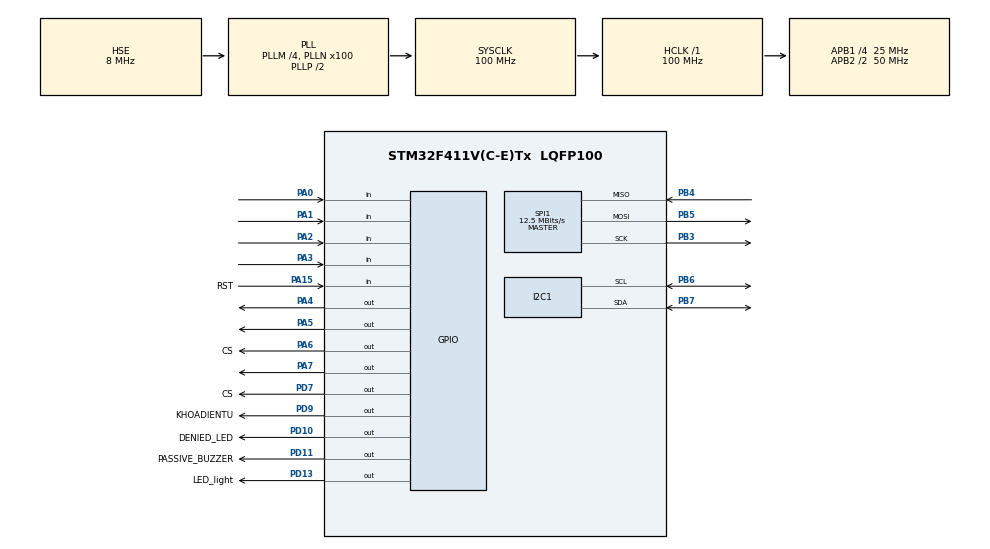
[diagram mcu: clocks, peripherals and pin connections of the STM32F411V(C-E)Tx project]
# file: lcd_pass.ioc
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Mcu.Family=STM32F4
Mcu.Name=STM32F411V(C-E)Tx
Mcu.Package=LQFP100
NVIC.I2C1_EV_IRQn=true\:0\:0\:false\:false\:true\:true\:true\:true
NVIC.PriorityGroup=NVIC_PRIORITYGROUP_4
NVIC.TIM1_UP_TIM10_IRQn=true\:0\:0\:false\:false\:true\:true\:true\:true
PA0-WKUP.GPIO_PuPd=GPIO_PULLUP
PA0-WKUP.Signal=GPIO_Input
PA1.GPIO_PuPd=GPIO_PULLUP
PA1.Signal=GPIO_Input
PA13.Mode=Serial_Wire
PA13.Signal=SYS_JTMS-SWDIO
PA14.Mode=Serial_Wire
PA14.Signal=SYS_JTCK-SWCLK
PA15.GPIO_Label=RST
PA15.GPIO_PuPd=GPIO_PULLUP
PA15.Signal=GPIO_Input
PA2.GPIO_PuPd=GPIO_PULLUP
PA2.Signal=GPIO_Input
PA3.GPIO_PuPd=GPIO_PULLUP
PA3.Signal=GPIO_Input
PA4.GPIO_Speed=GPIO_SPEED_FREQ_HIGH
PA4.Signal=GPIO_Output
PA5.GPIO_Speed=GPIO_SPEED_FREQ_HIGH
PA5.Signal=GPIO_Output
PA6.GPIO_Label=CS
PA6.GPIO_Speed=GPIO_SPEED_FREQ_HIGH
PA6.Signal=GPIO_Output
PA7.GPIO_Speed=GPIO_SPEED_FREQ_HIGH
PA7.Signal=GPIO_Output
PB3.Mode=Full_Duplex_Master
PB3.Signal=SPI1_SCK
PB4.Mode=Full_Duplex_Master
PB4.Signal=SPI1_MISO
PB5.Mode=Full_Duplex_Master
PB5.Signal=SPI1_MOSI
PB6.Mode=I2C
PB6.Signal=I2C1_SCL
PB7.Mode=I2C
PB7.Signal=I2C1_SDA
PD10.GPIO_Label=DENIED_LED
PD10.GPIO_Speed=GPIO_SPEED_FREQ_HIGH
PD10.Signal=GPIO_Output
PD11.GPIO_Label=PASSIVE_BUZZER
PD11.GPIO_Speed=GPIO_SPEED_FREQ_HIGH
PD11.Signal=GPIO_Output
PD13.GPIO_Label=LED_light
PD13.GPIO_Speed=GPIO_SPEED_FREQ_HIGH
PD13.Signal=GPIO_Output
PD7.GPIO_Label=CS
PD7.GPIO_Speed=GPIO_SPEED_FREQ_HIGH
PD7.PinState=GPIO_PIN_RESET
PD7.Signal=GPIO_Output
PD9.GPIO_Label=KHOADIENTU
PD9.GPIO_Speed=GPIO_SPEED_FREQ_HIGH
PD9.Signal=GPIO_Output
PH0\ -\ OSC_IN.Mode=HSE-External-Oscillator
PH0\ -\ OSC_IN.Signal=RCC_OSC_IN
PH1\ -\ OSC_OUT.Mode=HSE-External-Oscillator
PH1\ -\ OSC_OUT.Signal=RCC_OSC_OUT
ProjectManager.HeapSize=0x200
ProjectManager.StackSize=0x400
ProjectManager.TargetToolchain=MDK-ARM V5.27
RCC.48MHZClocksFreq_Value=66666666.666666664
RCC.AHBFreq_Value=100000000
RCC.APB1CLKDivider=RCC_HCLK_DIV4
RCC.APB1Freq_Value=25000000
RCC.APB1TimFreq_Value=50000000
RCC.APB2CLKDivider=RCC_HCLK_DIV2
RCC.APB2Freq_Value=50000000
RCC.APB2TimFreq_Value=100000000
RCC.CortexFreq_Value=100000000
RCC.HCLKFreq_Value=100000000
RCC.HSE_VALUE=8000000
RCC.HSI_VALUE=16000000
RCC.LSE_VALUE=32768
RCC.PLLM=4
RCC.PLLN=100
RCC.PLLQ=3
RCC.PLLSourceVirtual=RCC_PLLSOURCE_HSE
RCC.SYSCLKFreq_VALUE=100000000
RCC.SYSCLKSource=RCC_SYSCLKSOURCE_PLLCLK
RCC.VCOOutputFreq_Value=200000000
SPI1.BaudRatePrescaler=SPI_BAUDRATEPRESCALER_4
SPI1.CalculateBaudRate=12.5 MBits/s
SPI1.Direction=SPI_DIRECTION_2LINES
SPI1.Mode=SPI_MODE_MASTER
SPI1.VirtualType=VM_MASTER
TIM10.Period=9999
TIM10.Prescaler=10000
VP_TIM10_VS_ClockSourceINT.Mode=Enable_Timer
board=custom

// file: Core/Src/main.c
/* USER CODE BEGIN Header */
/**
  ******************************************************************************
  * @file           : main.c
  * @brief          : Main program body
  * Modifier: Ngo Le Tuyet Hoa
  * Updated: 17 DEC 2022
  ******************************************************************************
  * @attention
  *
  * Copyright (c) 2022 STMicroelectronics.
  * All rights reserved.
  *
  *
  *
  * This software is licensed under terms that can be found in the LICENSE file
  * in the root directory of this software component.
  * If no LICENSE file comes with this software, it is provided AS-IS.
  *
  ******************************************************************************
  */
/* USER CODE END Header */
#include "main.h"
/* USER CODE BEGIN Includes */
#include "string.h"
#include <stdio.h>
#include <stdint.h>
#include "lock_system.h"

/* USER CODE END Includes */

I2C_HandleTypeDef hi2c1;

SPI_HandleTypeDef hspi1;

TIM_HandleTypeDef htim10;

/* USER CODE BEGIN PV */
//INITIALIZE_VARIABLES
// flag variable
int flag_pass = 1, flag_rfid = 1, flag_change = 1;

//declare numsWords
int numofwords;

// variable RFID
unsigned char CardID[4]; //mang nhan ID tu ben ngoai
unsigned char MyID[4] = {0x63, 0x93, 0x9B,0xAC};	//My card on my keys
unsigned char ReadID_buf[4]; //mang doc ID tu FLASH

uint8_t key[16] = ""; //contains 16 character 	//temp array //mang tam chua input tu nguoi dung

uint8_t mode[4]; //mang chua che do
int wrong_count = 0; //dem so lan user nhap sai mk hoac ID
char default_pass[16] = ""; //nang chua mat khau mac dinh

//uint8_t str[MFRC522_MAX_LEN]; //mang chua UID cua the

//Flash mem store/read
uint32_t Rx_Data[30];
uint32_t Rx_DataRFID[30];

/* USER CODE END PV */

void SystemClock_Config(void);
static void MX_GPIO_Init(void);
static void MX_TIM10_Init(void);
static void MX_SPI1_Init(void);
static void MX_I2C1_Init(void);

int main(void)
{

  /* MCU Configuration--------------------------------------------------------*/

  /* Reset of all peripherals, Initializes the Flash interface and the Systick. */
  HAL_Init();

  /* Configure the system clock */
  SystemClock_Config();

  /* Initialize all configured peripherals */
  MX_GPIO_Init();
  MX_TIM10_Init();
  MX_SPI1_Init();
  MX_I2C1_Init();
  /* USER CODE BEGIN 2 */

	HAL_TIM_Base_Start_IT(&htim10); //khai bao su dung TIM10
	//HAL_TIM_PWM_Start(&htim1, TIM_CHANNEL_1); //khai bao su dung PWM TIM1 CH1

		MFRC522_Init(); //khoi tao cho cam bien dien tu RC522

		lcd_clear();
		lcd_put_cur(0,0);
		lcd_send_string("WELCOME TO UIT");
		lcd_put_cur(1,2);
		lcd_send_string("CE FACULTY ^-^");
		HAL_Delay(2000);

		Flash_Read_Data(0x08008100 , Rx_Data, 1); //Read only one word from mem to check if there is data in it or not

		if(Rx_Data[0] == 0xFFFFFFFF) //this will only run once when customer first buy lock when flash is empty
		{
			lcd_clear();
			lcd_put_cur(0,0);
			lcd_send_string("CAI MATKHAU: ");

			password_enter(key,16);

			numofwords = (strlen((const char*)key)/4)+((strlen((const char*)key)%4)!=0);

			//ghi mat khau vao sector 2 address 0x0800100
			Flash_Write_Data(0x08008100 , (uint32_t *)key, numofwords); //ghi mat khau tu ban phim vao bo nho Flash

			HAL_Delay(1); //buffer delay

			//ghi UID vao sector 3
			Flash_Write_Data(0x0800C000,(uint32_t*)MyID,4); //ghi UID master card vao nho Flash

			HAL_Delay(1); //buffer delay
		}

		memset(key,0, sizeof(key)); //clear key temp pass array

		//Done initial system

		//Mo ta dac tinh chuc nang o khoa thong minh

		//CHE DO:
		//*: PASSWORD
		//**: RFID
		//***: DOI MK

  /* USER CODE END 2 */

  /* Infinite loop */
  /* USER CODE BEGIN WHILE */
  while (1)
  {
    /* USER CODE BEGIN 3 */
			//initial
			flag_change = 1;
			flag_pass = 1;
			flag_rfid = 1;

			lcd_clear();
			lcd_put_cur(0,1);
			lcd_send_string("***WELCOME***");

			lcd_put_cur(1,0);
			lcd_send_string("MODE: ");

			int j = 0;
			int position = 5;
			//chon che do

			while(j<4)
			{
				mode[j] = read_keypad();

				if(mode[j]=='#')
				{
					HAL_GPIO_WritePin(GPIOD,GPIO_PIN_11,GPIO_PIN_SET);
					delay_ms(50);
					HAL_GPIO_WritePin(GPIOD,GPIO_PIN_11,GPIO_PIN_RESET);
					break;
				}

				if(mode[j] != 0x01)
				{
					HAL_GPIO_WritePin(GPIOD,GPIO_PIN_11,GPIO_PIN_SET);
					delay_ms(50);
					HAL_GPIO_WritePin(GPIOD,GPIO_PIN_11,GPIO_PIN_RESET);

					lcd_put_cur(1,position);
					lcd_send_data(mode[j]);
					++j;
					++position;
				}
				HAL_Delay(100);
		}

		lcd_clear();

		if(strncmp((const char*) mode,"*#",2) == 0)
		{
			while(flag_pass) {
				keypad_password();
				HAL_Delay(10);
			}
		} else if(strncmp((const char*) mode,"**#",3) == 0)
		{
			while(flag_rfid) {
				lcd_put_cur(0,0);
				lcd_send_string("INSERT ID CARD");

				RFID_task();
			}
		}
		else if(strncmp((const char*) mode,"***#",4) == 0) //doi mat khau
		{
			change_pass();
		}
		memset(mode, 0, sizeof(mode)); //reset lai mode

		HAL_Delay(10);
		  /* USER CODE END 3 */

  }
    /* USER CODE END WHILE */
}

void SystemClock_Config(void)
{
  RCC_OscInitTypeDef RCC_OscInitStruct = {0};
  RCC_ClkInitTypeDef RCC_ClkInitStruct = {0};

  /** Configure the main internal regulator output voltage
  */
  __HAL_RCC_PWR_CLK_ENABLE();
  __HAL_PWR_VOLTAGESCALING_CONFIG(PWR_REGULATOR_VOLTAGE_SCALE1);

  /** Initializes the RCC Oscillators according to the specified parameters
  * in the RCC_OscInitTypeDef structure.
  */
  RCC_OscInitStruct.OscillatorType = RCC_OSCILLATORTYPE_HSE;
  RCC_OscInitStruct.HSEState = RCC_HSE_ON;
  RCC_OscInitStruct.PLL.PLLState = RCC_PLL_ON;
  RCC_OscInitStruct.PLL.PLLSource = RCC_PLLSOURCE_HSE;
  RCC_OscInitStruct.PLL.PLLM = 4;
  RCC_OscInitStruct.PLL.PLLN = 100;
  RCC_OscInitStruct.PLL.PLLP = RCC_PLLP_DIV2;
  RCC_OscInitStruct.PLL.PLLQ = 3;
  if (HAL_RCC_OscConfig(&RCC_OscInitStruct) != HAL_OK)
  {
    Error_Handler();
  }

  /** Initializes the CPU, AHB and APB buses clocks
  */
  RCC_ClkInitStruct.ClockType = RCC_CLOCKTYPE_HCLK|RCC_CLOCKTYPE_SYSCLK
                              |RCC_CLOCKTYPE_PCLK1|RCC_CLOCKTYPE_PCLK2;
  RCC_ClkInitStruct.SYSCLKSource = RCC_SYSCLKSOURCE_PLLCLK;
  RCC_ClkInitStruct.AHBCLKDivider = RCC_SYSCLK_DIV1;
  RCC_ClkInitStruct.APB1CLKDivider = RCC_HCLK_DIV4;
  RCC_ClkInitStruct.APB2CLKDivider = RCC_HCLK_DIV2;

  if (HAL_RCC_ClockConfig(&RCC_ClkInitStruct, FLASH_LATENCY_3) != HAL_OK)
  {
    Error_Handler();
  }
}

static void MX_I2C1_Init(void)
{

  hi2c1.Instance = I2C1;
  hi2c1.Init.ClockSpeed = 100000;
  hi2c1.Init.DutyCycle = I2C_DUTYCYCLE_2;
  hi2c1.Init.OwnAddress1 = 0;
  hi2c1.Init.AddressingMode = I2C_ADDRESSINGMODE_7BIT;
  hi2c1.Init.DualAddressMode = I2C_DUALADDRESS_DISABLE;
  hi2c1.Init.OwnAddress2 = 0;
  hi2c1.Init.GeneralCallMode = I2C_GENERALCALL_DISABLE;
  hi2c1.Init.NoStretchMode = I2C_NOSTRETCH_DISABLE;
  if (HAL_I2C_Init(&hi2c1) != HAL_OK)
  {
    Error_Handler();
  }

}

static void MX_SPI1_Init(void)
{

  /* SPI1 parameter configuration*/
  hspi1.Instance = SPI1;
  hspi1.Init.Mode = SPI_MODE_MASTER;
  hspi1.Init.Direction = SPI_DIRECTION_2LINES;
  hspi1.Init.DataSize = SPI_DATASIZE_8BIT;
  hspi1.Init.CLKPolarity = SPI_POLARITY_LOW;
  hspi1.Init.CLKPhase = SPI_PHASE_1EDGE;
  hspi1.Init.NSS = SPI_NSS_SOFT;
  hspi1.Init.BaudRatePrescaler = SPI_BAUDRATEPRESCALER_4;
  hspi1.Init.FirstBit = SPI_FIRSTBIT_MSB;
  hspi1.Init.TIMode = SPI_TIMODE_DISABLE;
  hspi1.Init.CRCCalculation = SPI_CRCCALCULATION_DISABLE;
  hspi1.Init.CRCPolynomial = 10;
  if (HAL_SPI_Init(&hspi1) != HAL_OK)
  {
    Error_Handler();
  }

}

static void MX_TIM10_Init(void)
{

  htim10.Instance = TIM10;
  htim10.Init.Prescaler = 10000;
  htim10.Init.CounterMode = TIM_COUNTERMODE_UP;
  htim10.Init.Period = 9999;
  htim10.Init.ClockDivision = TIM_CLOCKDIVISION_DIV1;
  htim10.Init.AutoReloadPreload = TIM_AUTORELOAD_PRELOAD_DISABLE;
  if (HAL_TIM_Base_Init(&htim10) != HAL_OK)
  {
    Error_Handler();
  }

}

static void MX_GPIO_Init(void)
{
  GPIO_InitTypeDef GPIO_InitStruct = {0};

  /* GPIO Ports Clock Enable */
  __HAL_RCC_GPIOH_CLK_ENABLE();
  __HAL_RCC_GPIOA_CLK_ENABLE();
  __HAL_RCC_GPIOD_CLK_ENABLE();
  __HAL_RCC_GPIOB_CLK_ENABLE();

  /*Configure GPIO pin Output Level */
  HAL_GPIO_WritePin(GPIOA, GPIO_PIN_4|GPIO_PIN_5|CS_Pin|GPIO_PIN_7, GPIO_PIN_RESET);

  /*Configure GPIO pin Output Level */
  HAL_GPIO_WritePin(GPIOD, KHOADIENTU_Pin|DENIED_LED_Pin|PASSIVE_BUZZER_Pin|LED_light_Pin
                          |CSD7_Pin, GPIO_PIN_RESET);

  /*Configure GPIO pins : PA0 PA1 PA2 PA3
                           RST_Pin */
  GPIO_InitStruct.Pin = GPIO_PIN_0|GPIO_PIN_1|GPIO_PIN_2|GPIO_PIN_3
                          |RST_Pin;
  GPIO_InitStruct.Mode = GPIO_MODE_INPUT;
  GPIO_InitStruct.Pull = GPIO_PULLUP;
  HAL_GPIO_Init(GPIOA, &GPIO_InitStruct);

  /*Configure GPIO pins : PA4 PA5 CS_Pin PA7 */
  GPIO_InitStruct.Pin = GPIO_PIN_4|GPIO_PIN_5|CS_Pin|GPIO_PIN_7;
  GPIO_InitStruct.Mode = GPIO_MODE_OUTPUT_PP;
  GPIO_InitStruct.Pull = GPIO_NOPULL;
  GPIO_InitStruct.Speed = GPIO_SPEED_FREQ_HIGH;
  HAL_GPIO_Init(GPIOA, &GPIO_InitStruct);

  /*Configure GPIO pins : KHOADIENTU_Pin DENIED_LED_Pin PASSIVE_BUZZER_Pin LED_light_Pin
                           CSD7_Pin */
  GPIO_InitStruct.Pin = KHOADIENTU_Pin|DENIED_LED_Pin|PASSIVE_BUZZER_Pin|LED_light_Pin
                          |CSD7_Pin;
  GPIO_InitStruct.Mode = GPIO_MODE_OUTPUT_PP;
  GPIO_InitStruct.Pull = GPIO_NOPULL;
  GPIO_InitStruct.Speed = GPIO_SPEED_FREQ_HIGH;
  HAL_GPIO_Init(GPIOD, &GPIO_InitStruct);

}

void Error_Handler(void)
{
  __disable_irq();
  while (1)
  {
  }
}
